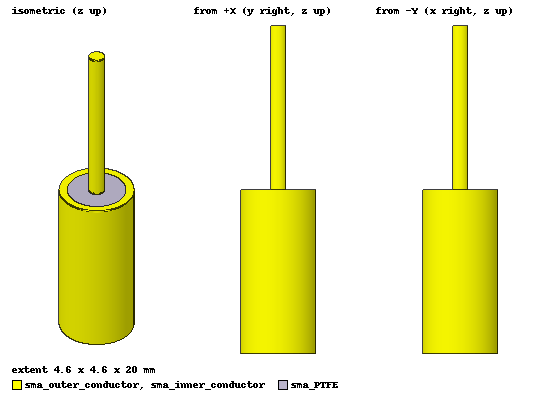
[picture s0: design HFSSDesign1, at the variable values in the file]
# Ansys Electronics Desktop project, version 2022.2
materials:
  vacuum: permittivity=1
  pec: conductivity=1e+30
  glass_PTFEreinf: permittivity=2.5 dielectric_loss_tangent=0.002

design HFSSDesign1 (HFSS, DrivenModal, model units mm)
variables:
  sma_innerD = 0.9725mm
  sma_inner_L = 20mm
  sma_outer_d = 3.6mm
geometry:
  sma_inner_conductor [pec] = cylinder(axis=Z, base_centre=(0mm, 0mm, 0mm), radius=sma_innerD/2, height=sma_inner_L)
  sma_PTFE [glass_PTFEreinf] = cylinder(axis=Z, base_centre=(0mm, 0mm, 0mm), radius=sma_outer_d/2, height=sma_inner_L/2)
  sma_inner_conductor_1 = sma_inner_conductor.copy()
  sma_PTFE.subtract(sma_inner_conductor_1)
  sma_outer_conductor [pec] = cylinder(axis=Z, base_centre=(0mm, 0mm, 0mm), radius=sma_outer_d/2+0.5mm, height=sma_inner_L/2)
  sma_PTFE_1 = sma_PTFE.copy()
  sma_outer_conductor.subtract(sma_PTFE_1)
  sma_inner_conductor_2 = sma_inner_conductor.copy()
  sma_outer_conductor.subtract(sma_inner_conductor_2)
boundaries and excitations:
  1: Wave Port Faces=sma_PTFE.face(2 of 3) NumModes=1 Modes{Mode1{IntLine{(1.8, 0, 0) -> (0.48625, 0, 0)} CharImp=Zpi}}
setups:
  Setup1: HfssDriven Frequency=5.64GHz MaxDeltaS=0.02 MaximumPasses=6 MinimumPasses=1 MinimumConvergedPasses=1 PercentRefinement=30 BasisOrder=1 PortAccuracy=2 DrivenSolverType="Direct Solver"
    sweep Sweep: 2.82GHz to 8.46GHz, 401 points; Type=Interpolating InterpTolerance=0.5 InterpMaxSolns=250 InterpUsePortImped=false PassivityErrorTolerance=0.0001
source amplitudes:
  1:1: 1W 0deg
